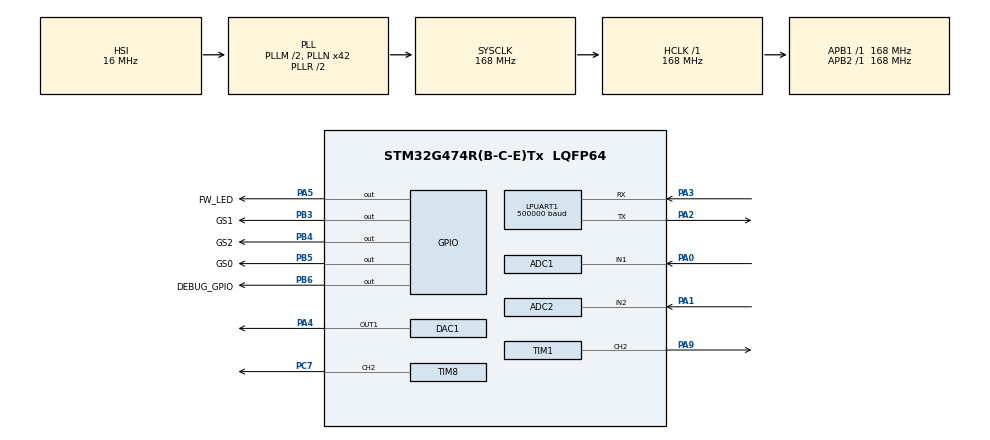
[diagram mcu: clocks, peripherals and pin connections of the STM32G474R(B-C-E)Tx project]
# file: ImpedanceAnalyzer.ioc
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ADC1.Channel-0\#ChannelRegularConversion=ADC_CHANNEL_1
ADC1.ClockPrescaler=ADC_CLOCK_ASYNC_DIV1
ADC1.DMAContinuousRequests=ENABLE
ADC1.EnableInjectedConversion=DISABLE
ADC1.ExternalTrigConv=ADC_EXTERNALTRIG_T8_TRGO2
ADC1.ExternalTrigConvEdge=ADC_EXTERNALTRIGCONVEDGE_RISING
ADC1.Mode=ADC_DUALMODE_REGSIMULT
ADC1.NbrOfConversion=1
ADC1.NbrOfConversionFlag=1
ADC1.OffsetNumber-0\#ChannelRegularConversion=ADC_OFFSET_NONE
ADC1.Overrun=ADC_OVR_DATA_OVERWRITTEN
ADC1.Rank-0\#ChannelRegularConversion=1
ADC1.Rank1_Channel=ADC_CHANNEL_1
ADC1.Rank2_Channel=ADC_CHANNEL_1
ADC1.Resolution=ADC_RESOLUTION_8B
ADC1.SamplingTime-0\#ChannelRegularConversion=ADC_SAMPLETIME_2CYCLES_5
ADC1.master=1
ADC2.Channel-0\#ChannelRegularConversion=ADC_CHANNEL_2
ADC2.ClockPrescaler=ADC_CLOCK_ASYNC_DIV1
ADC2.DMAContinuousRequests=DISABLE
ADC2.Mode=ADC_DUALMODE_REGSIMULT
ADC2.NbrOfConversionFlag=1
ADC2.OffsetNumber-0\#ChannelRegularConversion=ADC_OFFSET_NONE
ADC2.Overrun=ADC_OVR_DATA_OVERWRITTEN
ADC2.Rank-0\#ChannelRegularConversion=1
ADC2.Resolution=ADC_RESOLUTION_8B
ADC2.SamplingTime-0\#ChannelRegularConversion=ADC_SAMPLETIME_2CYCLES_5
DAC1.DAC_HighFrequency_OUT1-DAC_OUT1=DAC_HIGH_FREQUENCY_INTERFACE_MODE_AUTOMATIC
DAC1.DAC_Trigger_OUT1-DAC_OUT1=DAC_TRIGGER_T8_TRGO
Dma.ADC1.1.Direction=DMA_PERIPH_TO_MEMORY
Dma.ADC1.1.EventEnable=DISABLE
Dma.ADC1.1.Instance=DMA1_Channel2
Dma.ADC1.1.MemDataAlignment=DMA_MDATAALIGN_WORD
Dma.ADC1.1.MemInc=DMA_MINC_ENABLE
Dma.ADC1.1.Mode=DMA_CIRCULAR
Dma.ADC1.1.PeriphDataAlignment=DMA_PDATAALIGN_WORD
Dma.ADC1.1.PeriphInc=DMA_PINC_DISABLE
Dma.ADC1.1.Polarity=HAL_DMAMUX_REQ_GEN_RISING
Dma.ADC1.1.Priority=DMA_PRIORITY_LOW
Dma.ADC1.1.RequestNumber=1
Dma.ADC1.1.SignalID=NONE
Dma.ADC1.1.SyncEnable=DISABLE
Dma.ADC1.1.SyncPolarity=HAL_DMAMUX_SYNC_NO_EVENT
Dma.ADC1.1.SyncRequestNumber=1
Dma.ADC1.1.SyncSignalID=NONE
Dma.DAC1_CH1.0.Direction=DMA_MEMORY_TO_PERIPH
Dma.DAC1_CH1.0.EventEnable=DISABLE
Dma.DAC1_CH1.0.Instance=DMA1_Channel1
Dma.DAC1_CH1.0.MemDataAlignment=DMA_MDATAALIGN_HALFWORD
Dma.DAC1_CH1.0.MemInc=DMA_MINC_ENABLE
Dma.DAC1_CH1.0.Mode=DMA_CIRCULAR
Dma.DAC1_CH1.0.PeriphDataAlignment=DMA_PDATAALIGN_WORD
Dma.DAC1_CH1.0.PeriphInc=DMA_PINC_DISABLE
Dma.DAC1_CH1.0.Polarity=HAL_DMAMUX_REQ_GEN_RISING
Dma.DAC1_CH1.0.Priority=DMA_PRIORITY_LOW
Dma.DAC1_CH1.0.RequestNumber=1
Dma.DAC1_CH1.0.SignalID=NONE
Dma.DAC1_CH1.0.SyncEnable=DISABLE
Dma.DAC1_CH1.0.SyncPolarity=HAL_DMAMUX_SYNC_NO_EVENT
Dma.DAC1_CH1.0.SyncRequestNumber=1
Dma.DAC1_CH1.0.SyncSignalID=NONE
Dma.Request0=DAC1_CH1
Dma.Request1=ADC1
LPUART1.BaudRate=500000
Mcu.Family=STM32G4
Mcu.Name=STM32G474R(B-C-E)Tx
Mcu.Package=LQFP64
NVIC.ADC1_2_IRQn=true\:1\:0\:true\:false\:true\:true\:true\:true
NVIC.DMA1_Channel1_IRQn=true\:1\:0\:true\:false\:true\:false\:true\:true
NVIC.DMA1_Channel2_IRQn=true\:1\:0\:true\:false\:true\:false\:true\:true
NVIC.LPUART1_IRQn=true\:5\:0\:true\:false\:true\:true\:true\:true
NVIC.PriorityGroup=NVIC_PRIORITYGROUP_4
NVIC.TIM1_CC_IRQn=true\:4\:0\:true\:false\:true\:true\:true\:true
PA0.Mode=IN1-Single-Ended
PA0.Signal=ADC1_IN1
PA1.Mode=IN2-Single-Ended
PA1.Signal=ADC2_IN2
PA13.Mode=Serial_Wire
PA13.Signal=SYS_JTMS-SWDIO
PA14.Mode=Serial_Wire
PA14.Signal=SYS_JTCK-SWCLK
PA2.Mode=Asynchronous
PA2.Signal=LPUART1_TX
PA3.Mode=Asynchronous
PA3.Signal=LPUART1_RX
PA4.Signal=COMP_DAC11_group
PA5.GPIO_Label=FW_LED
PA5.Signal=GPIO_Output
PA9.Signal=S_TIM1_CH2
PB3.GPIO_Label=GS1
PB3.Signal=GPIO_Output
PB4.GPIO_Label=GS2
PB4.Signal=GPIO_Output
PB5.GPIO_Label=GS0
PB5.Signal=GPIO_Output
PB6.GPIO_Label=DEBUG_GPIO
PB6.Signal=GPIO_Output
PC7.Signal=S_TIM8_CH2
ProjectManager.HeapSize=0x000
ProjectManager.StackSize=0x400
ProjectManager.TargetToolchain=EWARM V8.50
RCC.ADC12CLockSelection=RCC_ADC12CLKSOURCE_PLL
RCC.ADC12Freq_Value=56000000
RCC.ADC345Freq_Value=168000000
RCC.AHBFreq_Value=168000000
RCC.APB1Freq_Value=168000000
RCC.APB1TimFreq_Value=168000000
RCC.APB2Freq_Value=168000000
RCC.APB2TimFreq_Value=168000000
RCC.CortexFreq_Value=168000000
RCC.EXTERNAL_CLOCK_VALUE=12288000
RCC.HCLKFreq_Value=168000000
RCC.HSE_VALUE=24000000
RCC.HSI48_VALUE=48000000
RCC.HSI_VALUE=16000000
RCC.LSE_VALUE=32768
RCC.PLLM=RCC_PLLM_DIV2
RCC.PLLN=42
RCC.PLLP=RCC_PLLP_DIV6
RCC.SYSCLKFreq_VALUE=168000000
RCC.SYSCLKSource=RCC_SYSCLKSOURCE_PLLCLK
RCC.USBFreq_Value=168000000
RCC.VCOOutputFreq_Value=336000000
SH.COMP_DAC11_group.0=DAC1_OUT1,DAC_OUT1
SH.S_TIM1_CH2.0=TIM1_CH2,Output Compare2 CH2
SH.S_TIM8_CH2.0=TIM8_CH2,PWM Generation2 CH2
TIM1.AutoReloadPreload=TIM_AUTORELOAD_PRELOAD_ENABLE
TIM1.Channel-Output\ Compare2\ CH2=TIM_CHANNEL_2
TIM1.OC2Preload=DISABLE
TIM1.OCMode_2=TIM_OCMODE_RETRIGERRABLE_OPM1
TIM1.OCPolarity_2=TIM_OCPOLARITY_LOW
TIM1.PeriodNoDither=65535
TIM1.PulseNoDither_2=0
TIM1.TIM_MasterOutputTrigger=TIM_TRGO_OC2REF
TIM8.Channel-PWM\ Generation2\ CH2=TIM_CHANNEL_2
TIM8.PeriodNoDither=13
TIM8.Prescaler=0
TIM8.PulseNoDither_2=5
TIM8.RepetitionCounter=5-1
TIM8.TIM_MasterOutputTrigger=TIM_TRGO_OC2REF
TIM8.TIM_MasterOutputTrigger2=TIM_TRGO2_UPDATE
TIM8.TIM_MasterSlaveMode=TIM_MASTERSLAVEMODE_DISABLE
VP_SYS_VS_DBSignals.Mode=DisableDeadBatterySignals
VP_TIM1_VS_ClockSourceITR.Mode=TriggerSource_ITR5
VP_TIM1_VS_ControllerModeClock.Mode=Clock Mode
VP_TIM8_VS_ClockSourceINT.Mode=Internal
VP_TIM8_VS_ClockSourceITR.Mode=TriggerSource_ITR0
VP_TIM8_VS_ControllerModeGated.Mode=Gated Mode
board=custom

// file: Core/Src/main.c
/* USER CODE BEGIN Header */
/**
 ******************************************************************************
 * @file           : main.c
 * @brief          : Main program body
 ******************************************************************************
 * @attention
 *
 * Copyright (c) 2024 STMicroelectronics.
 * All rights reserved.
 *
 * This software is licensed under terms that can be found in the LICENSE file
 * in the root directory of this software component.
 * If no LICENSE file comes with this software, it is provided AS-IS.
 *
 ******************************************************************************
 */
/* USER CODE END Header */
#include "main.h"

/* USER CODE BEGIN Includes */

#include "analyzer.h"
#include "blinky.h"
#include "bsp.h"
// #include "cli.h"
#include "analyzer.h"
#include "pc_com.h"
#include "posted_signals.h"
#include "qpc.h"
#include "reset.h"
#include <math.h>
#include <stdbool.h>
#include <stdio.h>
#include <stdlib.h>
#include <string.h>

/* USER CODE END Includes */

/* USER CODE BEGIN PTD */

// QP Priorities for Active Objects must be unique
// Lower number is lower priority
// 0 is reserved, lowest available is 1
typedef enum
{
    AO_RESERVED = 0U,
    AO_PRIO_BLINKY,
    AO_PRIO_ANALYZER,
    AO_PRIO_APP_CLI,
    AO_PRIO_APP_PC_COM,
} AO_Priority_T;

typedef struct
{
    union
    {
        QEvt base_event;
        FloatEvent_T float_event;
    } small_messages;
} SmallMessageUnion_T;
typedef struct
{
    union
    {
        QEvt someMultipleQEvt[4];
        DebugForceFaultEvent_T fault_event;
        DrawBodePlotEvent_T plot_bode_plot_event;
    } medium_messages;
} MediumMessageUnion_T;
typedef struct
{
    union
    {
        QEvt base_event;
        PCCOMPrintEvent_T pc_com_print_evt;
        PCCOMCliDataEvent_T pc_com_cli_event;
        ConfigPlotEvent_T pc_com_config_plot_event;
    } large_messages;
} LongMessageUnion_T;

/* USER CODE END PTD */

ADC_HandleTypeDef hadc1;
ADC_HandleTypeDef hadc2;
DMA_HandleTypeDef hdma_adc1;

DAC_HandleTypeDef hdac1;
DMA_HandleTypeDef hdma_dac1_ch1;

UART_HandleTypeDef hlpuart1;

TIM_HandleTypeDef htim1;
TIM_HandleTypeDef htim8;

void SystemClock_Config(void);
static void MX_GPIO_Init(void);
static void MX_DMA_Init(void);
static void MX_DAC1_Init(void);
static void MX_LPUART1_UART_Init(void);
static void MX_ADC1_Init(void);
static void MX_TIM8_Init(void);
static void MX_TIM1_Init(void);
static void MX_ADC2_Init(void);

/* USER CODE BEGIN 0 */

inline void HAL_ADC_ConvCpltCallback(ADC_HandleTypeDef *hadc)
{
    if (hadc->Instance == hadc1.Instance)
    {
        uint32_t dual_adc_val = HAL_ADCEx_MultiModeGetValue(hadc);

        Analyzer_ADC_Callback(dual_adc_val);
        static uint16_t i = 0;
        i++;
    }
}
inline void HAL_ADC_ConvHalfCpltCallback(ADC_HandleTypeDef *hadc)
{
}

inline void HAL_DAC_ConvCpltCallbackCh1(DAC_HandleTypeDef *hdac)
{
}

inline void HAL_DAC_ConvHalfCpltCallbackCh1(DAC_HandleTypeDef *hdac)
{
}

void HAL_TIM_PeriodElapsedCallback(TIM_HandleTypeDef *htim)
{
    if (htim->Instance == htim1.Instance)
    {
        HAL_GPIO_TogglePin(DEBUG_GPIO_GPIO_Port, DEBUG_GPIO_Pin);
        // DMA_timer_stop();
    }
}

inline void HAL_TIM_OC_DelayElapsedCallback(TIM_HandleTypeDef *htim)
{
    // if (htim->Instance == htim1.Instance)
    // {
    //     static QEvt const event = QEVT_INITIALIZER(POSTED_WAVEFORM_CAPTURE_COMPLETE_SIG);
    //     QACTIVE_POST(AO_Analyzer, &event, NULL);
    // }
}

/* USER CODE END 0 */

int main(void)
{
    /* USER CODE BEGIN 1 */
    Reset_Init();
    QF_init(); // initialize the framework and the underlying RT kernel
    /* USER CODE END 1 */

    /* MCU Configuration--------------------------------------------------------*/

    /* Reset of all peripherals, Initializes the Flash interface and the Systick. */
    HAL_Init();

    /* Configure the system clock */
    SystemClock_Config();

    /* USER CODE BEGIN SysInit */

    // IN CUBEMX, BE SURE TO SET INTERRUPT PRIORITY FOR ALL "QP AWARE" INTERRUPTS TO AT LEAST 4
    // SINCE QF_AWARE_ISR_CMSIS_PRI is 3

    /* USER CODE END SysInit */

    /* Initialize all configured peripherals */
    MX_GPIO_Init();
    MX_DMA_Init();
    MX_DAC1_Init();
    MX_LPUART1_UART_Init();
    MX_ADC1_Init();
    MX_TIM8_Init();
    MX_TIM1_Init();
    MX_ADC2_Init();
    /* USER CODE BEGIN 2 */

    uint16_t priority = QF_AWARE_ISR_CMSIS_PRI;
    (void) priority;

    // ADC setup
    HAL_ADCEx_Calibration_Start(&hadc1, ADC_SINGLE_ENDED);
    HAL_ADCEx_Calibration_Start(&hadc2, ADC_SINGLE_ENDED);

    // __HAL_TIM_CLEAR_FLAG(&htim1, TIM_FLAG_CC2);
    // TIM1->CNT = 0x0; // begin timer
    // startup PWM for tim1 and tim8 (just for debugging)
    if (HAL_TIM_PWM_Start_IT(&htim1, TIM_CHANNEL_2) != HAL_OK)
    {
        Error_Handler();
    }

    if (HAL_TIM_PWM_Start(&htim8, TIM_CHANNEL_2) != HAL_OK)
    {
        Error_Handler();
    }
    BSP_Init();

    // initialize event pools
    static QF_MPOOL_EL(SmallMessageUnion_T) smlPoolSto[10];
    QF_poolInit(smlPoolSto, sizeof(smlPoolSto), sizeof(smlPoolSto[0]));

    static QF_MPOOL_EL(MediumMessageUnion_T) mediumPoolSto[20];
    QF_poolInit(mediumPoolSto, sizeof(mediumPoolSto), sizeof(mediumPoolSto[0]));

    static QF_MPOOL_EL(LongMessageUnion_T) longPoolSto[20];
    QF_poolInit(longPoolSto, sizeof(longPoolSto), sizeof(longPoolSto[0]));

    size_t smallsize  = sizeof(SmallMessageUnion_T);
    size_t mediumsize = sizeof(MediumMessageUnion_T);
    size_t largesize  = sizeof(LongMessageUnion_T);
    size_t mysize     = sizeof(DrawPlotEvent_T);
    (void) smallsize;
    (void) mediumsize;
    (void) largesize;
    (void) mysize;

    // initialize publish-subscribe
    static QSubscrList subscrSto[PUBSUB_MAX_SIG];
    QActive_psInit(subscrSto, Q_DIM(subscrSto));

    // instantiate and start AOs/threads...

    static QEvt const *blinkyQueueSto[10];
    Blinky_ctor();
    QACTIVE_START(
        AO_Blinky,
        AO_PRIO_BLINKY,        // QP prio. of the AO
        blinkyQueueSto,        // event queue storage
        Q_DIM(blinkyQueueSto), // queue length [events]
        (void *) 0,
        0U,          // no stack storage
        (void *) 0); // no initialization param

    // static QEvt const *cli_QueueSto[20];
    // AppCLI_ctor(BSP_Get_Serial_IO_Interface_UART());
    // QACTIVE_START(
    //     AO_AppCLI,
    //     AO_PRIO_APP_CLI,     // QP prio. of the AO
    //     cli_QueueSto,        // event queue storage
    //     Q_DIM(cli_QueueSto), // queue length [events]
    //     (void *) 0,          // stack storage (not used in QK)
    //     0U,                  // stack size [bytes] (not used in QK)
    //     (void *) 0);         // no initialization param

    static QEvt const *app_pc_com_QueueSto[600];
    PC_COM_ctor(BSP_Get_Serial_IO_Interface_UART());
    QACTIVE_START(
        AO_PC_COM,
        AO_PRIO_APP_PC_COM,         // QP prio. of the AO
        app_pc_com_QueueSto,        // event queue storage
        Q_DIM(app_pc_com_QueueSto), // queue length [events]
        (void *) 0,                 // stack storage (not used in QK)
        0U,                         // stack size [bytes] (not used in QK)
        (void *) 0);                // no initialization param

    static QEvt const *analyzer_QueueSto[10];
    Analyzer_ctor();
    QACTIVE_START(
        AO_Analyzer,
        AO_PRIO_ANALYZER,         // QP prio. of the AO
        analyzer_QueueSto,        // event queue storage
        Q_DIM(analyzer_QueueSto), // queue length [events]
        (void *) 0,               // stack storage (not used in QK)
        0U,                       // stack size [bytes] (not used in QK)
        (void *) 0);              // no initialization param

    return QF_run(); // run the QF application
                     /* USER CODE END 2 */

    /* Infinite loop */
    /* USER CODE BEGIN WHILE */
    // while (1)
    // {
    /* USER CODE END WHILE */

}

void SystemClock_Config(void)
{
    RCC_OscInitTypeDef RCC_OscInitStruct = {0};
    RCC_ClkInitTypeDef RCC_ClkInitStruct = {0};

    /** Configure the main internal regulator output voltage
     */
    HAL_PWREx_ControlVoltageScaling(PWR_REGULATOR_VOLTAGE_SCALE1_BOOST);

    /** Initializes the RCC Oscillators according to the specified parameters
     * in the RCC_OscInitTypeDef structure.
     */
    RCC_OscInitStruct.OscillatorType      = RCC_OSCILLATORTYPE_HSI;
    RCC_OscInitStruct.HSIState            = RCC_HSI_ON;
    RCC_OscInitStruct.HSICalibrationValue = RCC_HSICALIBRATION_DEFAULT;
    RCC_OscInitStruct.PLL.PLLState        = RCC_PLL_ON;
    RCC_OscInitStruct.PLL.PLLSource       = RCC_PLLSOURCE_HSI;
    RCC_OscInitStruct.PLL.PLLM            = RCC_PLLM_DIV2;
    RCC_OscInitStruct.PLL.PLLN            = 42;
    RCC_OscInitStruct.PLL.PLLP            = RCC_PLLP_DIV6;
    RCC_OscInitStruct.PLL.PLLQ            = RCC_PLLQ_DIV2;
    RCC_OscInitStruct.PLL.PLLR            = RCC_PLLR_DIV2;
    if (HAL_RCC_OscConfig(&RCC_OscInitStruct) != HAL_OK)
    {
        Error_Handler();
    }

    /** Initializes the CPU, AHB and APB buses clocks
     */
    RCC_ClkInitStruct.ClockType = RCC_CLOCKTYPE_HCLK | RCC_CLOCKTYPE_SYSCLK | RCC_CLOCKTYPE_PCLK1 |
        RCC_CLOCKTYPE_PCLK2;
    RCC_ClkInitStruct.SYSCLKSource   = RCC_SYSCLKSOURCE_PLLCLK;
    RCC_ClkInitStruct.AHBCLKDivider  = RCC_SYSCLK_DIV1;
    RCC_ClkInitStruct.APB1CLKDivider = RCC_HCLK_DIV1;
    RCC_ClkInitStruct.APB2CLKDivider = RCC_HCLK_DIV1;

    if (HAL_RCC_ClockConfig(&RCC_ClkInitStruct, FLASH_LATENCY_4) != HAL_OK)
    {
        Error_Handler();
    }
}

static void MX_ADC1_Init(void)
{

    ADC_MultiModeTypeDef multimode = {0};
    ADC_ChannelConfTypeDef sConfig = {0};

    /** Common config
     */
    hadc1.Instance                   = ADC1;
    hadc1.Init.ClockPrescaler        = ADC_CLOCK_ASYNC_DIV1;
    hadc1.Init.Resolution            = ADC_RESOLUTION_8B;
    hadc1.Init.DataAlign             = ADC_DATAALIGN_RIGHT;
    hadc1.Init.GainCompensation      = 0;
    hadc1.Init.ScanConvMode          = ADC_SCAN_DISABLE;
    hadc1.Init.EOCSelection          = ADC_EOC_SINGLE_CONV;
    hadc1.Init.LowPowerAutoWait      = DISABLE;
    hadc1.Init.ContinuousConvMode    = DISABLE;
    hadc1.Init.NbrOfConversion       = 1;
    hadc1.Init.DiscontinuousConvMode = DISABLE;
    hadc1.Init.ExternalTrigConv      = ADC_EXTERNALTRIG_T8_TRGO2;
    hadc1.Init.ExternalTrigConvEdge  = ADC_EXTERNALTRIGCONVEDGE_RISING;
    hadc1.Init.DMAContinuousRequests = ENABLE;
    hadc1.Init.Overrun               = ADC_OVR_DATA_OVERWRITTEN;
    hadc1.Init.OversamplingMode      = DISABLE;
    if (HAL_ADC_Init(&hadc1) != HAL_OK)
    {
        Error_Handler();
    }

    /** Configure the ADC multi-mode
     */
    multimode.Mode             = ADC_DUALMODE_REGSIMULT;
    multimode.DMAAccessMode    = ADC_DMAACCESSMODE_DISABLED;
    multimode.TwoSamplingDelay = ADC_TWOSAMPLINGDELAY_1CYCLE;
    if (HAL_ADCEx_MultiModeConfigChannel(&hadc1, &multimode) != HAL_OK)
    {
        Error_Handler();
    }

    /** Configure Regular Channel
     */
    sConfig.Channel      = ADC_CHANNEL_1;
    sConfig.Rank         = ADC_REGULAR_RANK_1;
    sConfig.SamplingTime = ADC_SAMPLETIME_2CYCLES_5;
    sConfig.SingleDiff   = ADC_SINGLE_ENDED;
    sConfig.OffsetNumber = ADC_OFFSET_NONE;
    sConfig.Offset       = 0;
    if (HAL_ADC_ConfigChannel(&hadc1, &sConfig) != HAL_OK)
    {
        Error_Handler();
    }
}

static void MX_ADC2_Init(void)
{

    ADC_ChannelConfTypeDef sConfig = {0};

    /** Common config
     */
    hadc2.Instance                   = ADC2;
    hadc2.Init.ClockPrescaler        = ADC_CLOCK_ASYNC_DIV1;
    hadc2.Init.Resolution            = ADC_RESOLUTION_8B;
    hadc2.Init.DataAlign             = ADC_DATAALIGN_RIGHT;
    hadc2.Init.GainCompensation      = 0;
    hadc2.Init.ScanConvMode          = ADC_SCAN_DISABLE;
    hadc2.Init.EOCSelection          = ADC_EOC_SINGLE_CONV;
    hadc2.Init.LowPowerAutoWait      = DISABLE;
    hadc2.Init.ContinuousConvMode    = DISABLE;
    hadc2.Init.NbrOfConversion       = 1;
    hadc2.Init.DiscontinuousConvMode = DISABLE;
    hadc2.Init.DMAContinuousRequests = ENABLE;
    hadc2.Init.Overrun               = ADC_OVR_DATA_OVERWRITTEN;
    hadc2.Init.OversamplingMode      = DISABLE;
    if (HAL_ADC_Init(&hadc2) != HAL_OK)
    {
        Error_Handler();
    }

    /** Configure Regular Channel
     */
    sConfig.Channel      = ADC_CHANNEL_2;
    sConfig.Rank         = ADC_REGULAR_RANK_1;
    sConfig.SamplingTime = ADC_SAMPLETIME_2CYCLES_5;
    sConfig.SingleDiff   = ADC_SINGLE_ENDED;
    sConfig.OffsetNumber = ADC_OFFSET_NONE;
    sConfig.Offset       = 0;
    if (HAL_ADC_ConfigChannel(&hadc2, &sConfig) != HAL_OK)
    {
        Error_Handler();
    }
}

static void MX_DAC1_Init(void)
{

    DAC_ChannelConfTypeDef sConfig = {0};

    /** DAC Initialization
     */
    hdac1.Instance = DAC1;
    if (HAL_DAC_Init(&hdac1) != HAL_OK)
    {
        Error_Handler();
    }

    /** DAC channel OUT1 config
     */
    sConfig.DAC_HighFrequency           = DAC_HIGH_FREQUENCY_INTERFACE_MODE_AUTOMATIC;
    sConfig.DAC_DMADoubleDataMode       = DISABLE;
    sConfig.DAC_SignedFormat            = DISABLE;
    sConfig.DAC_SampleAndHold           = DAC_SAMPLEANDHOLD_DISABLE;
    sConfig.DAC_Trigger                 = DAC_TRIGGER_T8_TRGO;
    sConfig.DAC_Trigger2                = DAC_TRIGGER_NONE;
    sConfig.DAC_OutputBuffer            = DAC_OUTPUTBUFFER_ENABLE;
    sConfig.DAC_ConnectOnChipPeripheral = DAC_CHIPCONNECT_EXTERNAL;
    sConfig.DAC_UserTrimming            = DAC_TRIMMING_FACTORY;
    if (HAL_DAC_ConfigChannel(&hdac1, &sConfig, DAC_CHANNEL_1) != HAL_OK)
    {
        Error_Handler();
    }
}

static void MX_LPUART1_UART_Init(void)
{

    hlpuart1.Instance                    = LPUART1;
    hlpuart1.Init.BaudRate               = 500000;
    hlpuart1.Init.WordLength             = UART_WORDLENGTH_8B;
    hlpuart1.Init.StopBits               = UART_STOPBITS_1;
    hlpuart1.Init.Parity                 = UART_PARITY_NONE;
    hlpuart1.Init.Mode                   = UART_MODE_TX_RX;
    hlpuart1.Init.HwFlowCtl              = UART_HWCONTROL_NONE;
    hlpuart1.Init.OneBitSampling         = UART_ONE_BIT_SAMPLE_DISABLE;
    hlpuart1.Init.ClockPrescaler         = UART_PRESCALER_DIV1;
    hlpuart1.AdvancedInit.AdvFeatureInit = UART_ADVFEATURE_NO_INIT;
    if (HAL_UART_Init(&hlpuart1) != HAL_OK)
    {
        Error_Handler();
    }
    if (HAL_UARTEx_SetTxFifoThreshold(&hlpuart1, UART_TXFIFO_THRESHOLD_1_8) != HAL_OK)
    {
        Error_Handler();
    }
    if (HAL_UARTEx_SetRxFifoThreshold(&hlpuart1, UART_RXFIFO_THRESHOLD_1_8) != HAL_OK)
    {
        Error_Handler();
    }
    if (HAL_UARTEx_DisableFifoMode(&hlpuart1) != HAL_OK)
    {
        Error_Handler();
    }
}

static void MX_TIM1_Init(void)
{

    TIM_SlaveConfigTypeDef sSlaveConfig                 = {0};
    TIM_MasterConfigTypeDef sMasterConfig               = {0};
    TIM_OC_InitTypeDef sConfigOC                        = {0};
    TIM_BreakDeadTimeConfigTypeDef sBreakDeadTimeConfig = {0};

    htim1.Instance               = TIM1;
    htim1.Init.Prescaler         = 0;
    htim1.Init.CounterMode       = TIM_COUNTERMODE_UP;
    htim1.Init.Period            = 65535;
    htim1.Init.ClockDivision     = TIM_CLOCKDIVISION_DIV1;
    htim1.Init.RepetitionCounter = 0;
    htim1.Init.AutoReloadPreload = TIM_AUTORELOAD_PRELOAD_ENABLE;
    if (HAL_TIM_Base_Init(&htim1) != HAL_OK)
    {
        Error_Handler();
    }
    if (HAL_TIM_OC_Init(&htim1) != HAL_OK)
    {
        Error_Handler();
    }
    sSlaveConfig.SlaveMode    = TIM_SLAVEMODE_EXTERNAL1;
    sSlaveConfig.InputTrigger = TIM_TS_ITR5;
    if (HAL_TIM_SlaveConfigSynchro(&htim1, &sSlaveConfig) != HAL_OK)
    {
        Error_Handler();
    }
    sMasterConfig.MasterOutputTrigger  = TIM_TRGO_OC2REF;
    sMasterConfig.MasterOutputTrigger2 = TIM_TRGO2_RESET;
    sMasterConfig.MasterSlaveMode      = TIM_MASTERSLAVEMODE_DISABLE;
    if (HAL_TIMEx_MasterConfigSynchronization(&htim1, &sMasterConfig) != HAL_OK)
    {
        Error_Handler();
    }
    sConfigOC.OCMode       = TIM_OCMODE_RETRIGERRABLE_OPM1;
    sConfigOC.Pulse        = 0;
    sConfigOC.OCPolarity   = TIM_OCPOLARITY_LOW;
    sConfigOC.OCNPolarity  = TIM_OCNPOLARITY_HIGH;
    sConfigOC.OCFastMode   = TIM_OCFAST_DISABLE;
    sConfigOC.OCIdleState  = TIM_OCIDLESTATE_RESET;
    sConfigOC.OCNIdleState = TIM_OCNIDLESTATE_RESET;
    if (HAL_TIM_OC_ConfigChannel(&htim1, &sConfigOC, TIM_CHANNEL_2) != HAL_OK)
    {
        Error_Handler();
    }
    sBreakDeadTimeConfig.OffStateRunMode  = TIM_OSSR_DISABLE;
    sBreakDeadTimeConfig.OffStateIDLEMode = TIM_OSSI_DISABLE;
    sBreakDeadTimeConfig.LockLevel        = TIM_LOCKLEVEL_OFF;
    sBreakDeadTimeConfig.DeadTime         = 0;
    sBreakDeadTimeConfig.BreakState       = TIM_BREAK_DISABLE;
    sBreakDeadTimeConfig.BreakPolarity    = TIM_BREAKPOLARITY_HIGH;
    sBreakDeadTimeConfig.BreakFilter      = 0;
    sBreakDeadTimeConfig.BreakAFMode      = TIM_BREAK_AFMODE_INPUT;
    sBreakDeadTimeConfig.Break2State      = TIM_BREAK2_DISABLE;
    sBreakDeadTimeConfig.Break2Polarity   = TIM_BREAK2POLARITY_HIGH;
    sBreakDeadTimeConfig.Break2Filter     = 0;
    sBreakDeadTimeConfig.Break2AFMode     = TIM_BREAK_AFMODE_INPUT;
    sBreakDeadTimeConfig.AutomaticOutput  = TIM_AUTOMATICOUTPUT_DISABLE;
    if (HAL_TIMEx_ConfigBreakDeadTime(&htim1, &sBreakDeadTimeConfig) != HAL_OK)
    {
        Error_Handler();
    }
    HAL_TIM_MspPostInit(&htim1);
}

static void MX_TIM8_Init(void)
{

    TIM_ClockConfigTypeDef sClockSourceConfig           = {0};
    TIM_SlaveConfigTypeDef sSlaveConfig                 = {0};
    TIM_MasterConfigTypeDef sMasterConfig               = {0};
    TIM_OC_InitTypeDef sConfigOC                        = {0};
    TIM_BreakDeadTimeConfigTypeDef sBreakDeadTimeConfig = {0};

    htim8.Instance               = TIM8;
    htim8.Init.Prescaler         = 0;
    htim8.Init.CounterMode       = TIM_COUNTERMODE_UP;
    htim8.Init.Period            = 13; // 13
    htim8.Init.ClockDivision     = TIM_CLOCKDIVISION_DIV1;
    htim8.Init.RepetitionCounter = 5 - 1;
    htim8.Init.AutoReloadPreload = TIM_AUTORELOAD_PRELOAD_DISABLE;
    if (HAL_TIM_Base_Init(&htim8) != HAL_OK)
    {
        Error_Handler();
    }
    sClockSourceConfig.ClockSource = TIM_CLOCKSOURCE_INTERNAL;
    if (HAL_TIM_ConfigClockSource(&htim8, &sClockSourceConfig) != HAL_OK)
    {
        Error_Handler();
    }
    if (HAL_TIM_PWM_Init(&htim8) != HAL_OK)
    {
        Error_Handler();
    }
    sSlaveConfig.SlaveMode    = TIM_SLAVEMODE_GATED;
    sSlaveConfig.InputTrigger = TIM_TS_ITR0;
    if (HAL_TIM_SlaveConfigSynchro(&htim8, &sSlaveConfig) != HAL_OK)
    {
        Error_Handler();
    }
    sMasterConfig.MasterOutputTrigger  = TIM_TRGO_OC2REF;
    sMasterConfig.MasterOutputTrigger2 = TIM_TRGO2_UPDATE;
    sMasterConfig.MasterSlaveMode      = TIM_MASTERSLAVEMODE_DISABLE;
    if (HAL_TIMEx_MasterConfigSynchronization(&htim8, &sMasterConfig) != HAL_OK)
    {
        Error_Handler();
    }
    sConfigOC.OCMode       = TIM_OCMODE_PWM1;
    sConfigOC.Pulse        = 5;
    sConfigOC.OCPolarity   = TIM_OCPOLARITY_HIGH;
    sConfigOC.OCNPolarity  = TIM_OCNPOLARITY_HIGH;
    sConfigOC.OCFastMode   = TIM_OCFAST_DISABLE;
    sConfigOC.OCIdleState  = TIM_OCIDLESTATE_RESET;
    sConfigOC.OCNIdleState = TIM_OCNIDLESTATE_RESET;
    if (HAL_TIM_PWM_ConfigChannel(&htim8, &sConfigOC, TIM_CHANNEL_2) != HAL_OK)
    {
        Error_Handler();
    }
    sBreakDeadTimeConfig.OffStateRunMode  = TIM_OSSR_DISABLE;
    sBreakDeadTimeConfig.OffStateIDLEMode = TIM_OSSI_DISABLE;
    sBreakDeadTimeConfig.LockLevel        = TIM_LOCKLEVEL_OFF;
    sBreakDeadTimeConfig.DeadTime         = 0;
    sBreakDeadTimeConfig.BreakState       = TIM_BREAK_DISABLE;
    sBreakDeadTimeConfig.BreakPolarity    = TIM_BREAKPOLARITY_HIGH;
    sBreakDeadTimeConfig.BreakFilter      = 0;
    sBreakDeadTimeConfig.BreakAFMode      = TIM_BREAK_AFMODE_INPUT;
    sBreakDeadTimeConfig.Break2State      = TIM_BREAK2_DISABLE;
    sBreakDeadTimeConfig.Break2Polarity   = TIM_BREAK2POLARITY_HIGH;
    sBreakDeadTimeConfig.Break2Filter     = 0;
    sBreakDeadTimeConfig.Break2AFMode     = TIM_BREAK_AFMODE_INPUT;
    sBreakDeadTimeConfig.AutomaticOutput  = TIM_AUTOMATICOUTPUT_DISABLE;
    if (HAL_TIMEx_ConfigBreakDeadTime(&htim8, &sBreakDeadTimeConfig) != HAL_OK)
    {
        Error_Handler();
    }
    HAL_TIM_MspPostInit(&htim8);
}

static void MX_DMA_Init(void)
{
    /* DMA controller clock enable */
    __HAL_RCC_DMAMUX1_CLK_ENABLE();
    __HAL_RCC_DMA1_CLK_ENABLE();

    /* DMA interrupt init */
    /* DMA1_Channel1_IRQn interrupt configuration */
    HAL_NVIC_SetPriority(DMA1_Channel1_IRQn, 1, 0);
    HAL_NVIC_EnableIRQ(DMA1_Channel1_IRQn);
    /* DMA1_Channel2_IRQn interrupt configuration */
    HAL_NVIC_SetPriority(DMA1_Channel2_IRQn, 4, 0);
    HAL_NVIC_EnableIRQ(DMA1_Channel2_IRQn);
}

static void MX_GPIO_Init(void)
{
    GPIO_InitTypeDef GPIO_InitStruct = {0};

    /* GPIO Ports Clock Enable */
    __HAL_RCC_GPIOA_CLK_ENABLE();
    __HAL_RCC_GPIOC_CLK_ENABLE();
    __HAL_RCC_GPIOB_CLK_ENABLE();

    /*Configure GPIO pin Output Level */
    HAL_GPIO_WritePin(FW_LED_GPIO_Port, FW_LED_Pin, GPIO_PIN_RESET);

    /*Configure GPIO pin Output Level */
    HAL_GPIO_WritePin(GPIOB, GS1_Pin | GS2_Pin | GS0_Pin | DEBUG_GPIO_Pin, GPIO_PIN_RESET);

    /*Configure GPIO pin : FW_LED_Pin */
    GPIO_InitStruct.Pin   = FW_LED_Pin;
    GPIO_InitStruct.Mode  = GPIO_MODE_OUTPUT_PP;
    GPIO_InitStruct.Pull  = GPIO_NOPULL;
    GPIO_InitStruct.Speed = GPIO_SPEED_FREQ_LOW;
    HAL_GPIO_Init(FW_LED_GPIO_Port, &GPIO_InitStruct);

    /*Configure GPIO pins : GS1_Pin GS2_Pin GS0_Pin DEBUG_GPIO_Pin */
    GPIO_InitStruct.Pin   = GS1_Pin | GS2_Pin | GS0_Pin | DEBUG_GPIO_Pin;
    GPIO_InitStruct.Mode  = GPIO_MODE_OUTPUT_PP;
    GPIO_InitStruct.Pull  = GPIO_NOPULL;
    GPIO_InitStruct.Speed = GPIO_SPEED_FREQ_LOW;
    HAL_GPIO_Init(GPIOB, &GPIO_InitStruct);

}

void Error_Handler(void)
{
    __disable_irq();
    while (1)
    {
    }
}
